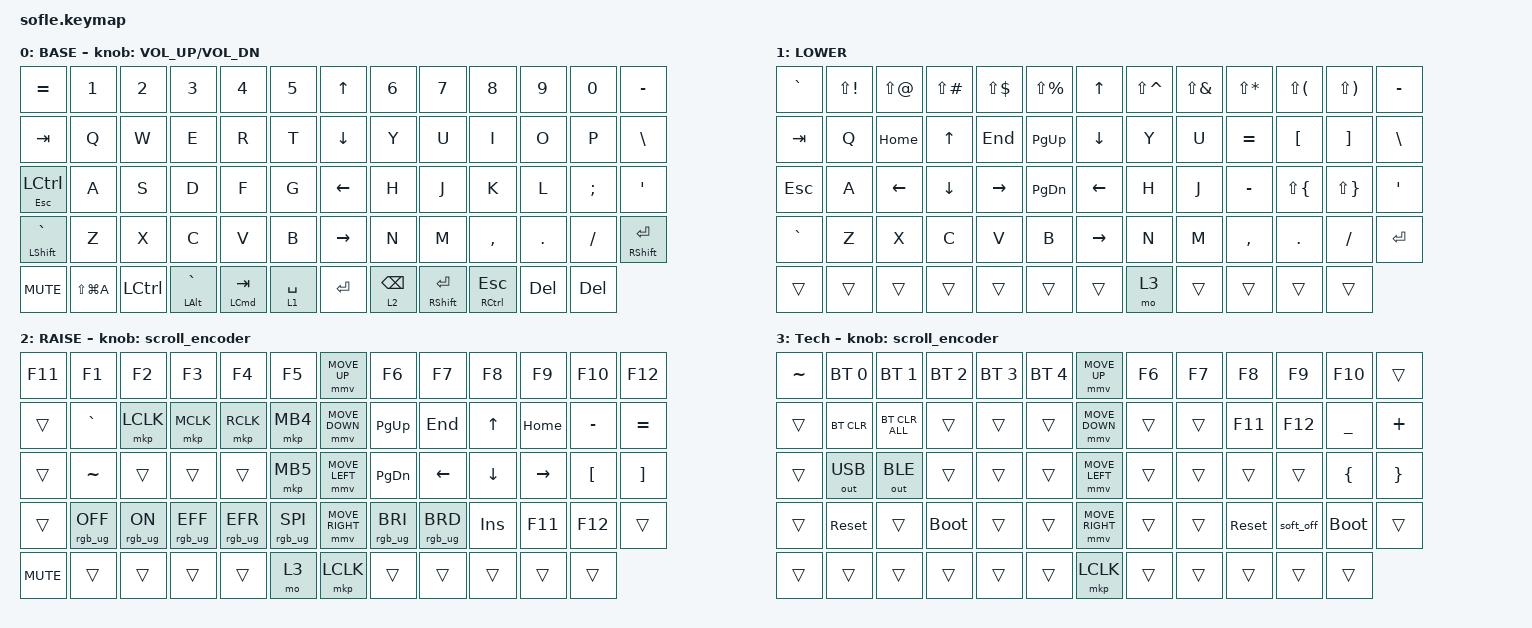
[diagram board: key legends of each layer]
#include <behaviors/mouse_keys.dtsi>
#include <dt-bindings/zmk/mouse.h>
#include <behaviors.dtsi>
#include <dt-bindings/zmk/bt.h>
#include <dt-bindings/zmk/keys.h>
#include <dt-bindings/zmk/outputs.h>
#include <dt-bindings/zmk/rgb.h>

#define ZMK_MOUSE_DEFAULT_MOVE_VAL 1200  // 600
#define ZMK_MOUSE_DEFAULT_SCRL_VAL 20    // 10
#define U_MS_U &mmv MOVE_UP
#define U_MS_D &mmv MOVE_DOWN
#define U_MS_L &mmv MOVE_LEFT
#define U_MS_R &mmv MOVE_RIGHT
#define ZMK_MOUSE_DEFAULT_MOVE_VAL 1200  //  600
#define ZMK_MOUSE_DEFAULT_SCRL_VAL 20    // 10

/ {
    behaviors {
        mmv {
            acceleration-exponent = <1>;      // 1
            time-to-max-speed-ms = <900>;    // 40
            delay-ms = <0>;                   // 0
        };

        msc {
            acceleration-exponent = <1>;      // 0
            time-to-max-speed-ms = <400>;      // 500
            delay-ms = <0>;                   //   10
        };
    };

    scroll_encoder: scroll_encoder {
        compatible = "zmk,behavior-sensor-rotate";
        #sensor-binding-cells = <0>;
        bindings = <&msc SCRL_DOWN>, <&msc SCRL_UP>;

        tap-ms = <30>;
    };

    keymap {
        compatible = "zmk,keymap";

        layer0 {
            bindings = <
&kp EQUAL         &kp N1         &kp N2            &kp N3              &kp N4                &kp N5         &kp UP_ARROW     &kp N6           &kp N7                 &kp N8                 &kp N9      &kp N0      &kp MINUS
&kp TAB           &kp Q          &kp W             &kp E               &kp R                 &kp T          &kp DOWN_ARROW   &kp Y            &kp U                  &kp I                  &kp O       &kp P       &kp BSLH
&mt ESCAPE LCTRL  &kp A          &kp S             &kp D               &kp F                 &kp G          &kp LEFT_ARROW   &kp H            &kp J                  &kp K                  &kp L       &kp SEMI    &kp APOS
&mt LSHFT GRAVE   &kp Z          &kp X             &kp C               &kp V                 &kp B          &kp RIGHT_ARROW  &kp N            &kp M                  &kp COMMA              &kp DOT     &kp FSLH    &mt RIGHT_SHIFT ENTER
&kp C_MUTE        &kp LS(LG(A))  &kp LEFT_CONTROL  &mt LEFT_ALT GRAVE  &mt LEFT_COMMAND TAB  &lt 1 SPACE    &kp ENTER        &lt 2 BACKSPACE  &mt RIGHT_SHIFT ENTER  &mt RIGHT_CONTROL ESC  &kp DELETE  &kp DELETE
            >;

            sensor-bindings = <&inc_dec_kp C_VOLUME_UP C_VOL_DN>;
            display-name = "BASE";
        };

        Lower {
            bindings = <
&kp GRAVE  &kp LS(EXCL)  &kp LS(AT)  &kp LS(POUND)  &kp LS(DLLR)  &kp LS(PRCNT)    &kp UP     &kp LS(CARET)  &kp LS(AMPS)  &kp LS(STAR)  &kp LS(LPAR)  &kp LS(RPAR)  &kp MINUS
&kp TAB    &kp Q         &kp HOME    &kp UP         &kp END       &kp PG_UP        &kp DOWN   &kp Y          &kp U         &kp EQUAL     &kp LBKT      &kp RBKT      &kp BSLH
&kp ESC    &kp A         &kp LEFT    &kp DOWN       &kp RIGHT     &kp PG_DN        &kp LEFT   &kp H          &kp J         &kp MINUS     &kp LS(LBRC)  &kp LS(RBRC)  &kp SQT
&kp GRAVE  &kp Z         &kp X       &kp C          &kp V         &kp B            &kp RIGHT  &kp N          &kp M         &kp COMMA     &kp DOT       &kp FSLH      &kp RET
&trans     &trans        &trans      &trans         &trans        &trans           &trans     &mo 3          &trans        &trans        &trans        &trans
            >;

            label = "LOWER";
        };

        Raise {
            bindings = <
&kp F11     &kp F1           &kp F2          &kp F3           &kp F4           &kp F5             &mmv MOVE_UP     &kp F6           &kp F7           &kp F8      &kp F9     &kp F10           &kp F12
&trans      &kp GRAVE        &mkp LCLK       &mkp MCLK        &mkp RCLK        &mkp MB4           &mmv MOVE_DOWN   &kp PG_UP        &kp END          &kp UP      &kp HOME   &kp MINUS         &kp EQUAL
&trans      &kp TILDE        &trans          &trans           &trans           &mkp MB5           &mmv MOVE_LEFT   &kp PG_DN        &kp LEFT         &kp DOWN    &kp RIGHT  &kp LEFT_BRACKET  &kp RIGHT_BRACKET
&trans      &rgb_ug RGB_OFF  &rgb_ug RGB_ON  &rgb_ug RGB_EFF  &rgb_ug RGB_EFR  &rgb_ug RGB_SPI    &mmv MOVE_RIGHT  &rgb_ug RGB_BRI  &rgb_ug RGB_BRD  &kp INSERT  &kp F11    &kp F12           &trans
&kp C_MUTE  &trans           &trans          &trans           &trans           &mo 3              &mkp LCLK        &trans           &trans           &trans      &trans     &trans
            >;

            display-name = "RAISE";
            sensor-bindings = <&scroll_encoder>;
        };

        Tech {
            bindings = <
&kp TILDE  &bt BT_SEL 0  &bt BT_SEL 1    &bt BT_SEL 2  &bt BT_SEL 3  &bt BT_SEL 4    &mmv MOVE_UP     &kp F6  &kp F7  &kp F8      &kp F9     &kp F10      &trans
&trans     &bt BT_CLR    &bt BT_CLR_ALL  &trans        &trans        &trans          &mmv MOVE_DOWN   &trans  &trans  &kp F11     &kp F12    &kp UNDER    &kp PLUS
&trans     &out OUT_USB  &out OUT_BLE    &trans        &trans        &trans          &mmv MOVE_LEFT   &trans  &trans  &trans      &trans     &kp LBRC     &kp RBRC
&trans     &sys_reset    &trans          &bootloader   &trans        &trans          &mmv MOVE_RIGHT  &trans  &trans  &sys_reset  &soft_off  &bootloader  &trans
&trans     &trans        &trans          &trans        &trans        &trans          &mkp LCLK        &trans  &trans  &trans      &trans     &trans
            >;

            sensor-bindings = <&scroll_encoder>;
            label = "Tech";
        };
    };
};
